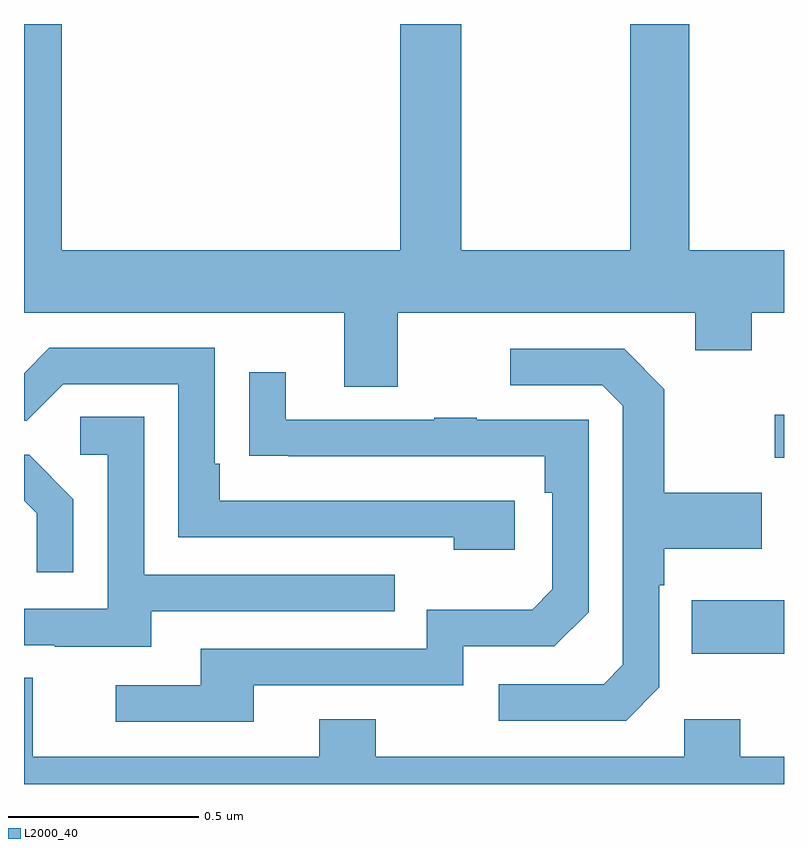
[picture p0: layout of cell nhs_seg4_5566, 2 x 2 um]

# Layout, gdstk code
import gdstk
lib = gdstk.Library(unit=1e-6, precision=1e-09)
def R(c, l, rs):  # rectangles x0, y0, x1, y1
    for r in rs: c.add(gdstk.rectangle(r[:2], r[2:], *l))
def P(c, l, *ps):  # polygons
    for p in ps: c.add(gdstk.Polygon(p, *l))
L2000_40 = (2000, 40)

nhs_seg4_5566 = lib.new_cell('nhs_seg4_5566')
R(nhs_seg4_5566, L2000_40, [(180.757,809.243,181,809.383), (180.975,809.759,181,809.872)])
P(nhs_seg4_5566, L2000_40, [(179.983,810.14),(180.767,810.14),(180.767,810.041),(180.915,810.041),(180.915,810.14),(181,810.14),(181,810.304),(180.75,810.304),(180.75,810.9),(180.595,810.9),(180.595,810.304),(180.15,810.304),(180.15,810.9),(179.99,810.9),(179.99,810.304),(179.099,810.304),(179.099,810.9),(179,810.9),(179,810.14),(179.843,810.14),(179.843,809.946),(179.983,809.946)],
  [(180.292,809.646),(179.515,809.646),(179.515,809.743),(179.502,809.743),(179.502,810.048),(179.067,810.048),(179,809.981),(179,809.856),(179.007,809.856),(179.103,809.952),(179.406,809.952),(179.406,809.55),(180.131,809.55),(180.131,809.516),(180.292,809.516)],
  [(180.672,809.154),(180.672,809.423),(180.685,809.423),(180.685,809.519),(180.941,809.519),(180.941,809.667),(180.685,809.667),(180.685,809.939),(180.579,810.045),(180.279,810.045),(180.279,809.949),(180.522,809.949),(180.576,809.895),(180.576,809.214),(180.525,809.163),(180.249,809.163),(180.249,809.067),(180.585,809.067)],
  [(179.605,809.16),(180.156,809.16),(180.156,809.262),(180.396,809.262),(180.486,809.352),(180.486,809.859),(180.191,809.859),(180.191,809.864),(180.079,809.864),(180.079,809.859),(179.689,809.859),(179.689,809.983),(179.593,809.983),(179.593,809.764),(179.695,809.764),(179.695,809.763),(180.37,809.763),(180.37,809.666),(180.39,809.666),(180.39,809.412),(180.337,809.359),(180.06,809.359),(180.06,809.256),(179.465,809.256),(179.465,809.16),(179.241,809.16),(179.241,809.064),(179.605,809.064)],
  [(179.335,809.355),(179.975,809.355),(179.975,809.451),(179.316,809.451),(179.316,809.867),(179.148,809.867),(179.148,809.766),(179.22,809.766),(179.22,809.361),(179,809.361),(179,809.265),(179.081,809.265),(179.081,809.261),(179.335,809.261)],
  [(179.13,809.65),(179.014,809.766),(179,809.766),(179,809.646),(179.033,809.613),(179.033,809.457),(179.13,809.457)],
  [(181,808.972),(180.885,808.972),(180.885,809.071),(180.738,809.071),(180.738,808.972),(179.925,808.972),(179.925,809.071),(179.777,809.071),(179.777,808.972),(179.023,808.972),(179.023,809.18),(179,809.18),(179,808.9),(181,808.9)])

lib.write_gds('nhs_seg4_5566.gds')
